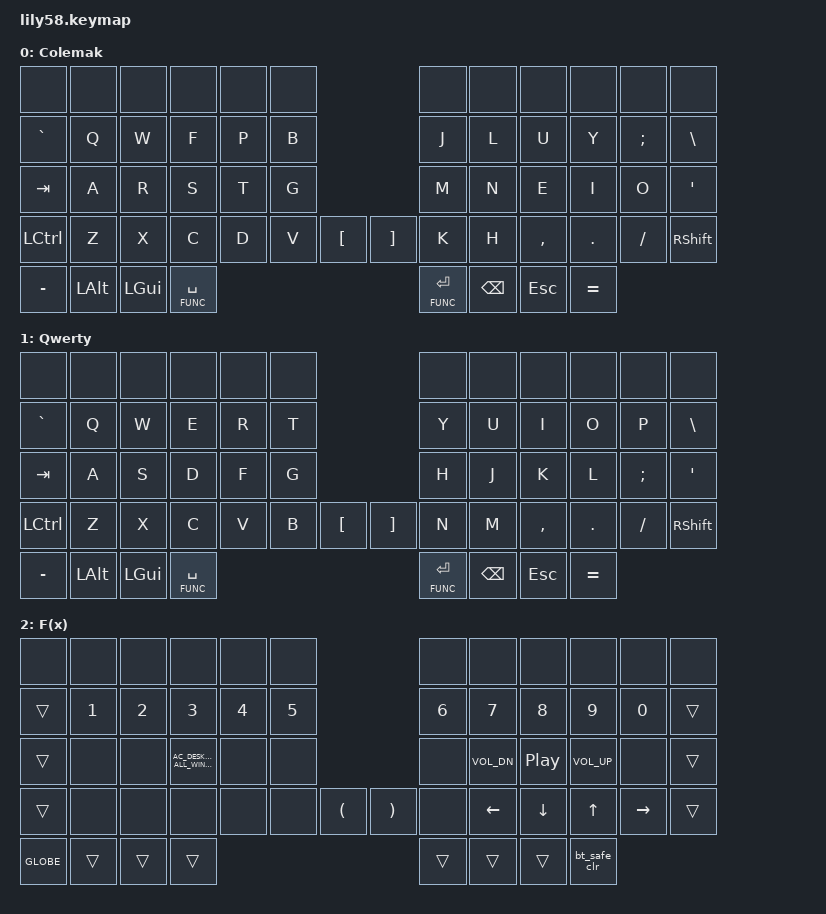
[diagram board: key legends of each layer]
/*
 * Copyright (c) 2020 The ZMK Contributors
 *
 * SPDX-License-Identifier: MIT
 */

#include <behaviors.dtsi>
#include <dt-bindings/zmk/keys.h>
#include <dt-bindings/zmk/bt.h>
#include <dt-bindings/zmk/ext_power.h>

#define CLMK 0
#define QWER 1
#define FUNC 2

#define HYPER  RS(RC(RA(RGUI)))

/ {
  combos {
    compatible = "zmk,combos";

    combo_colemak_to_qwerty {
      layers = <CLMK>;
      timeout-ms = <50>;
      bindings = <&to QWER>;
      key-positions = <53 54>;
    };

    combo_qwerty_to_colemak {
      layers = <QWER>;
      timeout-ms = <50>;
      bindings = <&to CLMK>;
      key-positions = <53 54>;
    };
  };

  behaviors {
    bt_safe_clr: bluetooth_safe_clear {
      label = "bluetooth_safe_clear";
      compatible = "zmk,behavior-tap-dance";
      #binding-cells = <0>;
      bindings = <&none>, <&none>, <&bt BT_CLR>;
    };
  };

  typing {
    compatible = "zmk,keymap";

    colemak_layer {
      display-name = "Colemak";
      bindings = <
&none     &none  &none  &none    &none    &none                      &none  &none    &none     &none   &none     &none
&kp GRAVE &kp Q  &kp W  &kp F    &kp P    &kp B                      &kp J  &kp L    &kp U     &kp Y   &kp SEMI  &kp BSLH
&kp TAB   &kp A  &kp R  &kp S    &kp T    &kp G                      &kp M  &kp N    &kp E     &kp I   &kp O     &kp SQT
&kp LCTRL &kp Z  &kp X  &kp C    &kp D    &kp V  &kp LBKT   &kp RBKT &kp K  &kp H    &kp COMMA &kp DOT &kp FSLH  &kp RSHFT
    &kp MINUS  &kp LALT  &kp LGUI  &lt FUNC SPACE           &lt FUNC RET  &kp BSPC  &kp ESC  &kp EQUAL
      >;
    };

    qwerty_layer {
      display-name = "Qwerty";
      bindings = <
&none     &none  &none  &none    &none    &none                      &none  &none    &none     &none   &none     &none
&kp GRAVE &kp Q  &kp W  &kp E    &kp R    &kp T                      &kp Y  &kp U    &kp I     &kp O   &kp P     &kp BSLH
&kp TAB   &kp A  &kp S  &kp D    &kp F    &kp G                      &kp H  &kp J    &kp K     &kp L   &kp SEMI  &kp SQT
&kp LCTRL &kp Z  &kp X  &kp C    &kp V    &kp B  &kp LBKT   &kp RBKT &kp N  &kp M    &kp COMMA &kp DOT &kp FSLH  &kp RSHFT
  &kp MINUS  &kp LALT  &kp LGUI  &lt FUNC SPACE           &lt FUNC RET  &kp BSPC  &kp ESC  &kp EQUAL
      >;
    };

    functions {
      display-name = "F(x)";
      bindings = <
&none     &none       &none       &none                               &none   &none                           &none   &none         &none         &none          &none         &none
&trans    &kp N1      &kp N2      &kp N3                              &kp N4  &kp N5                          &kp N6  &kp N7        &kp N8        &kp N9         &kp N0        &trans
&trans     &none      &none       &kp C_AC_DESKTOP_SHOW_ALL_WINDOWS   &none   &none                           &none   &kp C_VOL_DN  &kp C_PP      &kp C_VOL_UP   &none         &trans
&trans    &none       &none       &none                               &none   &none  &kp LPAR       &kp RPAR  &none   &kp LEFT      &kp DOWN      &kp UP         &kp RIGHT     &trans
                      &kp GLOBE   &trans                              &trans  &trans                          &trans  &trans        &trans        &bt_safe_clr
      >;
    };
  };
};
